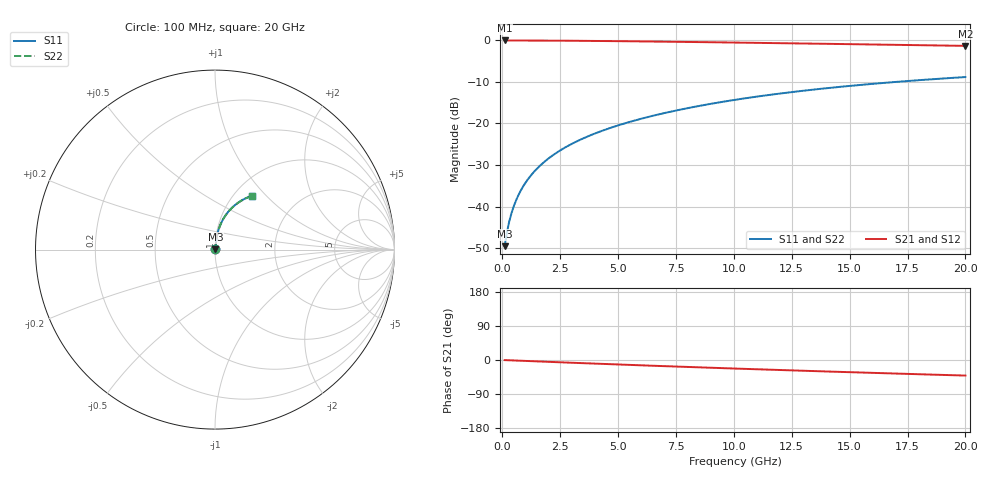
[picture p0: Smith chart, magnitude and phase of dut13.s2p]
! Touchstone file exported from HFSS 2024.1.0
!  File:  C:/UserFiles/LocalFiles/RDL_TSV_Batchsim/temp_RDL_top_13_1778679939.aedt
!  Generated:  09:47:53 PM May 13, 2026
!  Design:  RDL_top
!  Project:  temp_RDL_top_13_1778679939
!  Setup:  Setup1
!  Solution:  Sweep
! Variables:
!  dtsv = 10.80580581um
!  hbump = 3um
!  htsv = 82.07um
!  ldown = 100um
!  lrdl = 617.66um
!  p = 40
!  p1 = 42.22um
!  rhole = 1um
!  t = 450um
!  tdown = 3.915915916um
!  trdl = 4.9um
!  wdown = 15.38538539um
!  wrdl = 17.97um
# GHz S MA R 50.000000
! Terminal data exported
! Port[1] = Box2_T1
! Port[2] = Box2_T2
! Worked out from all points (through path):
!   200 points, 100 MHz to 20 GHz, reference 50 ohm
!   highest |S21| = -0.02 dB at 100 MHz (marker M1); lowest = -1.3 dB at 20 GHz (marker M2)
!   group delay of S21, straight-line fit = 5.67 ps
!   lowest |S11| = -49.5 dB at 100 MHz (marker M3), VSWR 1.01, Z = 50.3 + j0.208 ohm
!   |S11| at or under -10 dB: start of sweep to 17 GHz
!   |S22| runs from -49.5 to -8.8 dB; largest |S21 - S12| = 4.6e-15
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0.1  0.003335 38.3  0.9974 -0.3  0.9974 -0.3  0.003335 38.3
! Gamma 0 0 0 0
! Port Impedance 50 0 50 0
0.2  0.004896 55.7  0.9972 -0.5  0.9972 -0.5  0.004896 55.7
0.3  0.006615 64.0  0.9971 -0.8  0.9971 -0.8  0.006615 64.0
0.4  0.008375 68.9  0.9969 -1.0  0.9969 -1.0  0.008375 68.9
0.5  0.01016 72.1  0.9968 -1.2  0.9968 -1.2  0.01016 72.1
0.6  0.01196 74.4  0.9966 -1.5  0.9966 -1.5  0.01196 74.4
0.8  0.01561 77.5  0.9963 -2.0  0.9963 -2.0  0.01561 77.5
1.1  0.02116 79.9  0.9958 -2.7  0.9958 -2.7  0.02116 79.9
1.5  0.02862 81.5  0.9949 -3.7  0.9949 -3.7  0.02862 81.5
1.8  0.03423 82.1  0.9941 -4.4  0.9941 -4.4  0.03423 82.1
2.1  0.03986 82.4  0.9931 -5.1  0.9931 -5.1  0.03986 82.4
2.7  0.05113 82.6  0.9908 -6.5  0.9908 -6.5  0.05113 82.5
3.5  0.06622 82.3  0.987 -8.4  0.987 -8.4  0.06621 82.2
4.2  0.07949 81.7  0.9832 -10.0  0.9832 -10.0  0.07947 81.7
5  0.09475 80.9  0.9784 -11.8  0.9784 -11.8  0.09472 80.9
6.8  0.1295 78.7  0.9662 -15.8  0.9662 -15.8  0.1294 78.7
8.4  0.1606 76.3  0.9542 -19.2  0.9542 -19.2  0.1605 76.3
10.1  0.1934 73.5  0.9409 -22.7  0.9409 -22.7  0.1932 73.4
11.7  0.2237 70.7  0.9279 -25.9  0.9279 -25.9  0.2235 70.6
13.4  0.2548 67.6  0.9138 -29.2  0.9138 -29.2  0.2546 67.5
16.7  0.3113 61.6  0.8862 -35.3  0.8862 -35.3  0.311 61.5
20  0.3617 55.8  0.8586 -41.1  0.8586 -41.1  0.3613 55.7
